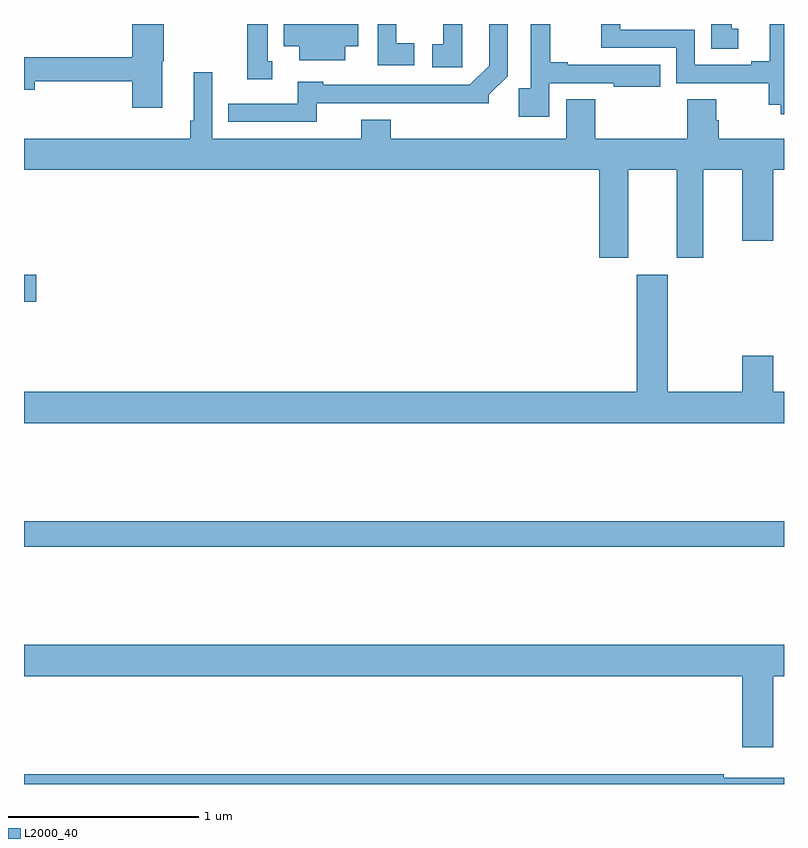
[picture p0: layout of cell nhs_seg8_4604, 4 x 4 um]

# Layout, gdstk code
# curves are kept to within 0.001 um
import gdstk
lib = gdstk.Library(unit=1e-6, precision=1e-09)
def R(c, l, rs):  # rectangles x0, y0, x1, y1
    for r in rs: c.add(gdstk.rectangle(r[:2], r[2:], *l))
def P(c, l, *ps):  # polygons
    for p in ps: c.add(gdstk.Polygon(p, *l))
L2000_40 = (2000, 40)

nhs_seg8_4604 = lib.new_cell('nhs_seg8_4604')
R(nhs_seg8_4604, L2000_40, [(389,1149.148,393,1149.284), (389,1150.438,389.065,1150.58)])
P(nhs_seg8_4604, L2000_40, [(390.54,1151.484),(391.446,1151.483),(391.446,1151.527),(391.545,1151.626),(391.545,1151.9),(391.448,1151.9),(391.448,1151.681),(391.347,1151.58),(390.576,1151.58),(390.576,1151.596),(390.44,1151.596),(390.44,1151.481),(390.076,1151.481),(390.076,1151.385),(390.54,1151.385)],
  [(391.054,1151.798),(390.96,1151.798),(390.96,1151.9),(390.861,1151.9),(390.861,1151.682),(391.054,1151.682)],
  [(390.307,1151.703),(390.282,1151.703),(390.282,1151.9),(390.174,1151.9),(390.174,1151.609),(390.307,1151.609)],
  [(389.728,1151.703),(389.736,1151.703),(389.736,1151.9),(389.57,1151.9),(389.57,1151.726),(389,1151.726),(389,1151.555),(389.056,1151.555),(389.056,1151.598),(389.57,1151.598),(389.57,1151.46),(389.728,1151.46)],
  [(391.764,1151.589),(392.105,1151.589),(392.105,1151.57),(392.348,1151.57),(392.348,1151.685),(391.861,1151.685),(391.861,1151.698),(391.769,1151.698),(391.769,1151.9),(391.668,1151.9),(391.668,1151.563),(391.603,1151.563),(391.603,1151.412),(391.764,1151.412)],
  [(392.758,1151.874),(392.725,1151.874),(392.725,1151.9),(392.618,1151.9),(392.618,1151.77),(392.758,1151.77)],
  [(390.691,1151.783),(390.76,1151.783),(390.76,1151.9),(390.367,1151.9),(390.367,1151.783),(390.449,1151.783),(390.449,1151.708),(390.691,1151.708)],
  [(393,1151.9),(392.924,1151.9),(392.924,1151.705),(392.828,1151.705),(392.828,1151.685),(392.529,1151.685),(392.529,1151.871),(392.139,1151.871),(392.139,1151.9),(392.038,1151.9),(392.038,1151.775),(392.433,1151.775),(392.433,1151.589),(392.92,1151.589),(392.92,1151.475),(392.983,1151.475),(392.983,1151.424),(393,1151.424)],
  [(391.306,1151.9),(391.207,1151.9),(391.207,1151.793),(391.149,1151.793),(391.149,1151.673),(391.306,1151.673)],
  [(392.027,1150.671),(392.179,1150.671),(392.179,1151.132),(392.435,1151.132),(392.435,1150.671),(392.575,1150.671),(392.575,1151.132),(392.78,1151.132),(392.78,1150.758),(392.944,1150.758),(392.944,1151.132),(393,1151.132),(393,1151.296),(392.657,1151.296),(392.657,1151.394),(392.644,1151.394),(392.644,1151.504),(392.492,1151.504),(392.492,1151.296),(392.006,1151.296),(392.006,1151.504),(391.853,1151.504),(391.853,1151.296),(390.929,1151.296),(390.929,1151.395),(390.776,1151.395),(390.776,1151.296),(389.991,1151.296),(389.991,1151.647),(389.894,1151.647),(389.894,1151.392),(389.875,1151.392),(389.875,1151.296),(389,1151.296),(389,1151.132),(392.027,1151.132)],
  [(393,1149.964),(392.944,1149.964),(392.944,1150.153),(392.78,1150.153),(392.78,1149.964),(392.389,1149.964),(392.389,1150.579),(392.225,1150.579),(392.225,1149.964),(389,1149.964),(389,1149.8),(393,1149.8)],
  [(392.944,1148.468),(393,1148.468),(393,1148.632),(389,1148.632),(389,1148.468),(392.78,1148.468),(392.78,1148.094),(392.944,1148.094)],
  [(393,1147.933),(392.684,1147.933),(392.684,1147.952),(389,1147.952),(389,1147.9),(393,1147.9)])

lib.write_gds('nhs_seg8_4604.gds')
